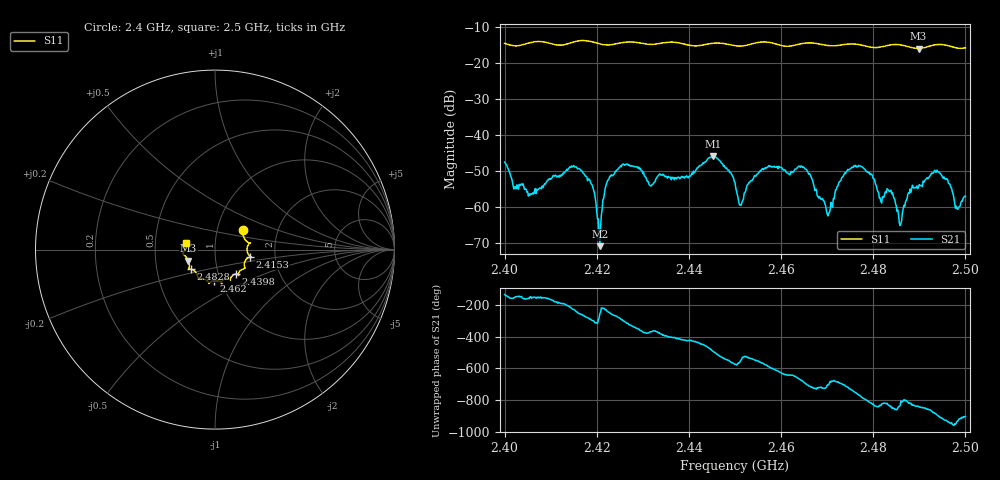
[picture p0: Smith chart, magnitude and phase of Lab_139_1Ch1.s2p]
# Hz S RI R 50
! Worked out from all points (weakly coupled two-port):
!   601 points, 2.4 GHz to 2.5 GHz, reference 50 ohm
!   highest |S21| = -45.84 dB at 2.4452 GHz (marker M1); lowest = -70.8 dB at 2.4207 GHz (marker M2)
!   lowest |S11| = -15.9 dB at 2.4898 GHz (marker M3), VSWR 1.38, Z = 36.9 - j4.64 ohm
!   |S11| at or under -10 dB: start of sweep to end of sweep
!   S12 and S22 are empty: the file has one direction only
!   S11 on the Smith chart (normalised r, x): 2.4 GHz: 1.33, +0.29; 2.4153 GHz: 1.48, -0.12; 2.4398 GHz: 1.21, -0.34; 2.462 GHz: 0.93, -0.33; 2.4828 GHz: 0.74, -0.17; 2.5 GHz: 0.72, +0.06
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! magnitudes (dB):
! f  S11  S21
! 2.4 GHz  -14.5  -47.4
! 2.4057 GHz  -14.3  -56.2
! 2.4153 GHz  -14.0  -48.8
! 2.4167 GHz  -13.7  -49.9
! 2.4207 GHz  -14.6  -70.8
! 2.4223 GHz  -14.9  -52.7
! 2.4253 GHz  -14.3  -48.7
! 2.4333 GHz  -14.6  -51.2
! 2.4398 GHz  -15.0  -51.9
! 2.4452 GHz  -14.5  -45.8
! 2.45 GHz  -15.1  -53.1
! 2.4513 GHz  -15.2  -59.4
! 2.456 GHz  -14.1  -49.2
! 2.462 GHz  -15.2  -50.8
! 2.4667 GHz  -14.4  -52.0
! 2.4702 GHz  -15.1  -62.4
! 2.4757 GHz  -14.7  -49.0
! 2.4828 GHz  -15.2  -56.0
! 2.4833 GHz  -15.0  -55.3
! 2.4858 GHz  -14.9  -65.1
! 2.4898 GHz  -15.9  -54.3
! 2.5 GHz  -15.7  -57.0
